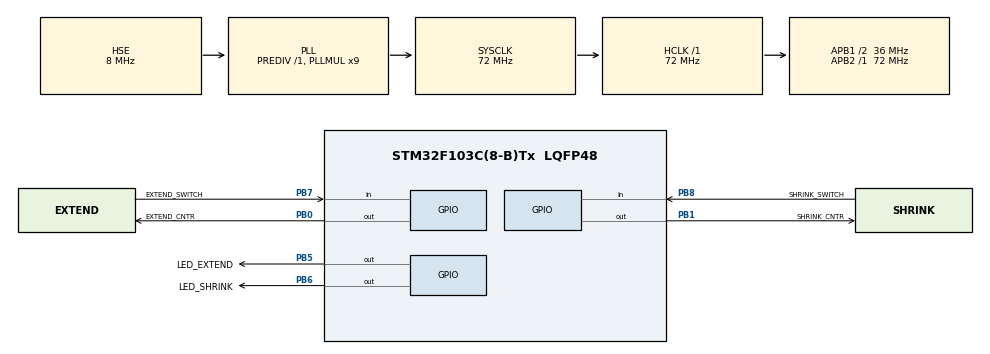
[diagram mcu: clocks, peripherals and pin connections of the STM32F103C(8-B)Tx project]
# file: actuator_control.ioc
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Mcu.Family=STM32F1
Mcu.Name=STM32F103C(8-B)Tx
Mcu.Package=LQFP48
NVIC.PriorityGroup=NVIC_PRIORITYGROUP_4
PA13.Mode=Serial_Wire
PA13.Signal=SYS_JTMS-SWDIO
PA14.Mode=Serial_Wire
PA14.Signal=SYS_JTCK-SWCLK
PB0.GPIO_Label=EXTEND_CNTR
PB0.Signal=GPIO_Output
PB1.GPIO_Label=SHRINK_CNTR
PB1.Signal=GPIO_Output
PB5.GPIO_Label=LED_EXTEND
PB5.Signal=GPIO_Output
PB6.GPIO_Label=LED_SHRINK
PB6.Signal=GPIO_Output
PB7.GPIO_Label=EXTEND_SWITCH
PB7.GPIO_PuPd=GPIO_PULLDOWN
PB7.Signal=GPIO_Input
PB8.GPIO_Label=SHRINK_SWITCH
PB8.GPIO_PuPd=GPIO_PULLDOWN
PB8.Signal=GPIO_Input
PD0-OSC_IN.Mode=HSE-External-Oscillator
PD0-OSC_IN.Signal=RCC_OSC_IN
PD1-OSC_OUT.Mode=HSE-External-Oscillator
PD1-OSC_OUT.Signal=RCC_OSC_OUT
ProjectManager.HeapSize=0x200
ProjectManager.StackSize=0x400
ProjectManager.TargetToolchain=STM32CubeIDE
RCC.AHBFreq_Value=72000000
RCC.APB1CLKDivider=RCC_HCLK_DIV2
RCC.APB1Freq_Value=36000000
RCC.APB1TimFreq_Value=72000000
RCC.APB2Freq_Value=72000000
RCC.APB2TimFreq_Value=72000000
RCC.HCLKFreq_Value=72000000
RCC.PLLMUL=RCC_PLL_MUL9
RCC.PLLSourceVirtual=RCC_PLLSOURCE_HSE
RCC.SYSCLKFreq_VALUE=72000000
RCC.SYSCLKSource=RCC_SYSCLKSOURCE_PLLCLK
RCC.USBFreq_Value=72000000
board=custom

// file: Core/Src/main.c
/* USER CODE BEGIN Header */
/**
  ******************************************************************************
  * @file           : main.c
  * @brief          : Main program body
  ******************************************************************************
  * @attention
  *
  * Copyright (c) 2025 STMicroelectronics.
  * All rights reserved.
  *
  * This software is licensed under terms that can be found in the LICENSE file
  * in the root directory of this software component.
  * If no LICENSE file comes with this software, it is provided AS-IS.
  *
  ******************************************************************************
  */
/* USER CODE END Header */
#include "main.h"
#include "gpio.h"

/* USER CODE BEGIN Includes */
#include "actuator_control.h"
/* USER CODE END Includes */

/* USER CODE BEGIN PV */
static ActuatorControl_t s_actuator_control;   /* Actuator state — file-scoped */
static uint32_t          s_last_update_tick;    /* Last tick the loop ran at   */
static const uint32_t    LOOP_COOLDOWN_MS = 1U; /* Minimum period between iterations */
/* USER CODE END PV */

void SystemClock_Config(void);

int main(void)
{

  /* MCU Configuration--------------------------------------------------------*/

  /* Reset of all peripherals, Initializes the Flash interface and the Systick. */
  HAL_Init();

  /* Configure the system clock */
  SystemClock_Config();

  /* Initialize all configured peripherals */
  MX_GPIO_Init();
  /* USER CODE BEGIN 2 */

  /* ---- Initialise actuator ---- */
  const ActuatorConfig_t actuator_config = {
      .extend_active_level = GPIO_PIN_SET,
      .shrink_active_level = GPIO_PIN_SET,
      .debounce_time_ms    = MS_TO_TICKS(DEBOUNCE_TIME_MS),

      .extend_control_port = (void*)GPIOB,
      .extend_control_pin  = EXTEND_CNTR_Pin,
      .shrink_control_port = (void*)GPIOB,
      .shrink_control_pin  = SHRINK_CNTR_Pin,
      .extend_switch_port  = (void*)GPIOB,
      .extend_switch_pin   = EXTEND_SWITCH_Pin,
      .shrink_switch_port  = (void*)GPIOB,
      .shrink_switch_pin   = SHRINK_SWITCH_Pin,
      .led_extend_port     = (void*)GPIOB,
      .led_extend_pin      = LED_EXTEND_Pin,
      .led_shrink_port     = (void*)GPIOB,
      .led_shrink_pin      = LED_SHRINK_Pin
  };

  actuator_init(&s_actuator_control, &actuator_config);
  actuator_start_homing(&s_actuator_control);

  s_last_update_tick = HAL_GetTick();

  /* USER CODE END 2 */

  /* Infinite loop */
  /* USER CODE BEGIN WHILE */
  while (1)
  {
    const uint32_t current_time = HAL_GetTick();

    /* Run the state machine at LOOP_COOLDOWN_MS intervals */
    if ((current_time - s_last_update_tick) >= LOOP_COOLDOWN_MS) {
        s_last_update_tick = current_time;

        actuator_update(&s_actuator_control, current_time);

        if (actuator_get_state(&s_actuator_control) == ACTUATOR_IDLE &&
            !actuator_is_homing(&s_actuator_control))
        {
            /* Actuator is idle and homing is complete — ready for commands */
        }
        else if (actuator_is_error(&s_actuator_control))
        {
            /* An error has occurred (e.g. homing timeout) */
        }
    }

    /* No blocking delay — the loop spins freely for maximum responsiveness */

    /* USER CODE END WHILE */

  }
}

void SystemClock_Config(void)
{
  RCC_OscInitTypeDef RCC_OscInitStruct = {0};
  RCC_ClkInitTypeDef RCC_ClkInitStruct = {0};

  /** Initializes the RCC Oscillators according to the specified parameters
  * in the RCC_OscInitTypeDef structure.
  */
  RCC_OscInitStruct.OscillatorType = RCC_OSCILLATORTYPE_HSE;
  RCC_OscInitStruct.HSEState = RCC_HSE_ON;
  RCC_OscInitStruct.HSEPredivValue = RCC_HSE_PREDIV_DIV1;
  RCC_OscInitStruct.HSIState = RCC_HSI_ON;
  RCC_OscInitStruct.PLL.PLLState = RCC_PLL_ON;
  RCC_OscInitStruct.PLL.PLLSource = RCC_PLLSOURCE_HSE;
  RCC_OscInitStruct.PLL.PLLMUL = RCC_PLL_MUL9;
  if (HAL_RCC_OscConfig(&RCC_OscInitStruct) != HAL_OK)
  {
    Error_Handler();
  }

  /** Initializes the CPU, AHB and APB buses clocks
  */
  RCC_ClkInitStruct.ClockType = RCC_CLOCKTYPE_HCLK|RCC_CLOCKTYPE_SYSCLK
                              |RCC_CLOCKTYPE_PCLK1|RCC_CLOCKTYPE_PCLK2;
  RCC_ClkInitStruct.SYSCLKSource = RCC_SYSCLKSOURCE_PLLCLK;
  RCC_ClkInitStruct.AHBCLKDivider = RCC_SYSCLK_DIV1;
  RCC_ClkInitStruct.APB1CLKDivider = RCC_HCLK_DIV2;
  RCC_ClkInitStruct.APB2CLKDivider = RCC_HCLK_DIV1;

  if (HAL_RCC_ClockConfig(&RCC_ClkInitStruct, FLASH_LATENCY_2) != HAL_OK)
  {
    Error_Handler();
  }
}

void Error_Handler(void)
{
  __disable_irq();
  while (1)
  {
  }
}
